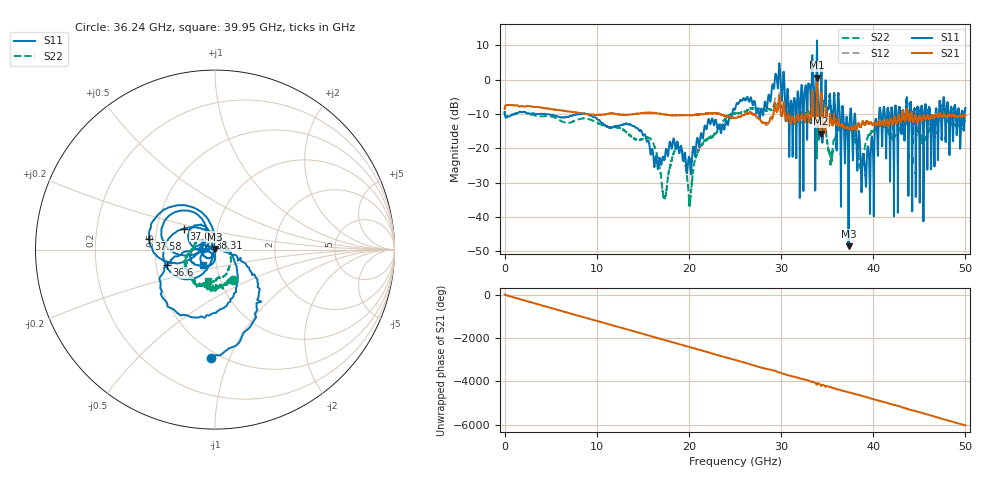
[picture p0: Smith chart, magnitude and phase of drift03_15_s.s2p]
!Created with skrf (http://scikit-rf.org).
# Hz S RI R 50.0
!freq ReS11 ImS11 ReS21 ImS21 ReS12 ImS12 ReS22 ImS22
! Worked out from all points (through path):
!   10001 points, 300 kHz to 50 GHz, reference 50 ohm
!   highest |S21| = 0.59 dB at 33.9 GHz (marker M1); lowest = -15.7 dB at 34.32 GHz (marker M2)
!   group delay of S21, straight-line fit = 335 ps
!   lowest |S11| = -48.5 dB at 37.32 GHz (marker M3), VSWR 1.01, Z = 49.7 + j0.275 ohm
!   |S11| at or under -10 dB: 4.476 GHz to 7.93 GHz (3.454 GHz wide, 55.7 % of centre); 9.007 GHz to 24.7 GHz (15.69 GHz wide, 93.1 % of centre); 38.02 GHz to 40.63 GHz (2.613 GHz wide, 6.65 % of centre) (the widest 3 of 67)
!   |S22| runs from -37.0 to -5.9 dB; largest |S21 - S12| = 0.11
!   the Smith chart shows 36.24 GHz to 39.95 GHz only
!   S11 on the Smith chart (normalised r, x): 36.24 GHz: 0.45, -0.86; 36.6 GHz: 0.57, -0.10; 37.03 GHz: 0.69, +0.17; 37.58 GHz: 0.46, +0.07; 38.31 GHz: 0.94, +0.12; 39.95 GHz: 0.86, -0.15
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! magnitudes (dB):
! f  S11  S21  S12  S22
! 300 kHz  -9.4  -8.5  -8.5  -9.3
! 8.335 GHz  -9.9  -9.8  -9.8  -11.3
! 16.67 GHz  -25.5  -9.8  -9.8  -23.5
! 17.37 GHz  -23.1  -10.1  -10.1  -34.5
! 19.04 GHz  -20.3  -10.4  -10.4  -19.9
! 20.11 GHz  -23.7  -10.3  -10.3  -35.5
! 25 GHz  -8.6  -11.1  -11.1  -9.8
! 29.66 GHz  -2.4  -8.3  -8.4  -7.1
! 31.08 GHz  -6.1  -12.7  -12.7  -10.5
! 33.34 GHz  0.2  -7.7  -7.7  -9.5
! 33.9 GHz  11.5  0.6  0.2  -22.9
! 34.32 GHz  -2.8  -15.7  -15.0  -11.3
! 35.35 GHz  -6.5  -10.6  -10.1  -24.5
! 36.24 GHz  -4.3  -11.7  -11.6  -14.2
! 36.6 GHz  -11.0  -13.0  -13.0  -13.4
! 37.03 GHz  -13.5  -13.7  -13.9  -13.5
! 37.32 GHz  -48.5  -14.4  -14.5  -13.6
! 37.58 GHz  -8.6  -13.9  -13.8  -14.2
! 38.31 GHz  -23.4  -13.5  -13.4  -19.2
! 39.95 GHz  -19.2  -13.1  -13.1  -15.1
! 41.67 GHz  -9.8  -13.3  -13.3  -15.0
! 50 GHz  -8.2  -10.5  -10.5  -12.1
